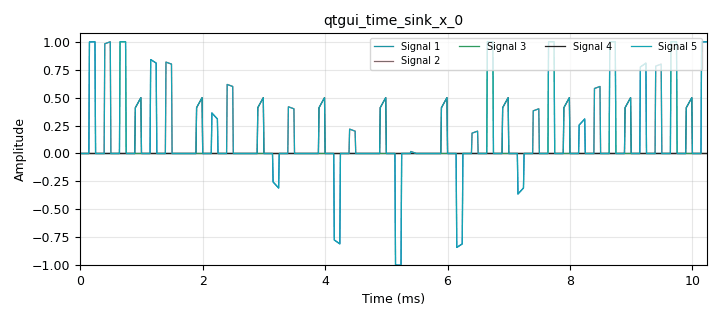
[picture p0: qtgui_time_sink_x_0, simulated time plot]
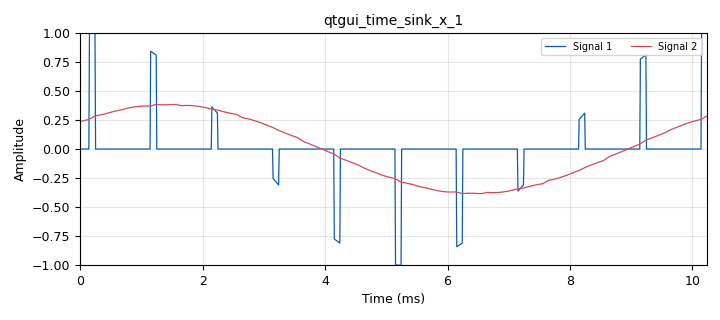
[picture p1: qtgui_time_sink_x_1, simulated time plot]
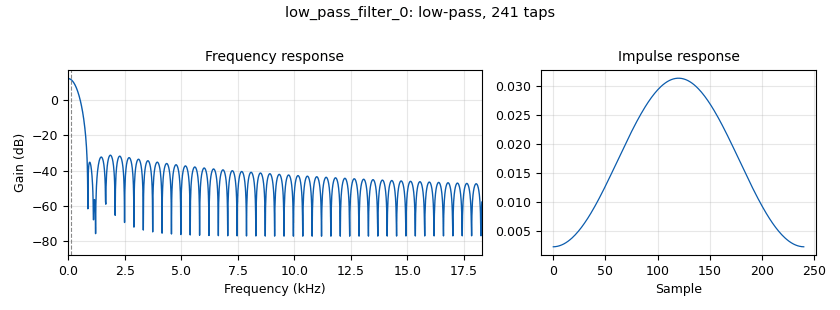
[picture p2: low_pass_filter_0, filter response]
options:
  parameters:
    author: Juan Fabian Morales Moreno
    generate_options: qt_gui
    id: MultiplexaPAM
    output_language: python
    title: MultiplexaPAM
  states: {}

blocks:
- name: Am
  id: variable_qtgui_range
  parameters:
    label: Amplitud de Mensaje
    start: '0'
    step: '100e-3'
    stop: '10'
    value: '1'
  states: {}
- name: D
  id: variable_qtgui_range
  parameters:
    label: Ancho de Pulso
    rangeType: int
    start: '0'
    step: '1'
    stop: '50'
    value: '10'
  states: {}
- name: D1
  id: variable_qtgui_range
  parameters:
    label: Retardo 1
    rangeType: int
    start: '0'
    step: '1'
    stop: '100'
    value: '25'
  states: {}
- name: D2
  id: variable_qtgui_range
  parameters:
    label: Retardo 2
    rangeType: int
    start: '0'
    step: '1'
    stop: '100'
    value: '50'
  states: {}
- name: D3
  id: variable_qtgui_range
  parameters:
    label: Retardo 3
    rangeType: int
    start: '0'
    step: '1'
    stop: '100'
    value: '75'
  states: {}
- name: D4
  id: variable_qtgui_range
  parameters:
    label: Selección señal RX
    rangeType: int
    start: '0'
    step: '1'
    stop: '100'
    value: '0'
  states: {}
- name: fm
  id: variable_qtgui_range
  parameters:
    label: Frecuencia Mensaje
    start: '0'
    step: '10'
    stop: '10000'
    value: '100'
  states: {}
- name: fs
  id: variable_qtgui_range
  parameters:
    label: Frecuencia de pulsos
    start: '0'
    step: '1'
    stop: '10000'
    value: '1000'
  states: {}
- name: samp_rate
  id: variable
  parameters:
    value: 100e3
  states: {}
- name: analog_const_source_x_0
  id: analog_const_source_x
  parameters:
    const: '0'
    type: float
  states: {state: disabled}
- name: analog_sig_source_x_0
  id: analog_sig_source_x
  parameters:
    amp: Am
    freq: fm
    offset: '0'
    phase: '0'
    samp_rate: samp_rate
    type: float
    waveform: analog.GR_COS_WAVE
  states: {}
- name: analog_sig_source_x_0_0
  id: analog_sig_source_x
  parameters:
    amp: '1'
    freq: fs
    offset: '0'
    phase: '0'
    samp_rate: samp_rate
    type: float
    waveform: analog.GR_SQR_WAVE
  states: {}
- name: analog_sig_source_x_0_0_0
  id: analog_sig_source_x
  parameters:
    amp: '1'
    freq: fs
    offset: '0'
    phase: '0'
    samp_rate: samp_rate
    type: float
    waveform: analog.GR_SQR_WAVE
  states: {}
- name: analog_sig_source_x_0_0_1
  id: analog_sig_source_x
  parameters:
    amp: '1'
    freq: fs
    offset: '0'
    phase: '0'
    samp_rate: samp_rate
    type: float
    waveform: analog.GR_SQR_WAVE
  states: {}
- name: analog_sig_source_x_0_0_1_0
  id: analog_sig_source_x
  parameters:
    amp: '1'
    freq: fs
    offset: '0'
    phase: '0'
    samp_rate: samp_rate
    type: float
    waveform: analog.GR_SQR_WAVE
  states: {}
- name: analog_sig_source_x_0_1
  id: analog_sig_source_x
  parameters:
    amp: Am
    freq: fm
    offset: '0'
    phase: '0'
    samp_rate: samp_rate
    type: float
    waveform: analog.GR_TRI_WAVE
  states: {}
- name: analog_sig_source_x_0_2
  id: analog_sig_source_x
  parameters:
    amp: Am
    freq: fm
    offset: '0'
    phase: '0'
    samp_rate: samp_rate
    type: float
    waveform: analog.GR_SQR_WAVE
  states: {}
- name: analog_sig_source_x_0_2_0
  id: analog_sig_source_x
  parameters:
    amp: '1'
    freq: '1000'
    offset: '0'
    phase: '0'
    samp_rate: samp_rate
    type: float
    waveform: analog.GR_SAW_WAVE
  states: {}
- name: analog_sig_source_x_0_3
  id: analog_sig_source_x
  parameters:
    amp: '1'
    freq: fs
    offset: '0'
    phase: '0'
    samp_rate: samp_rate
    type: float
    waveform: analog.GR_SQR_WAVE
  states: {}
- name: blocks_add_xx_0
  id: blocks_add_xx
  parameters:
    num_inputs: '4'
    type: float
  states: {}
- name: blocks_delay_0
  id: blocks_delay
  parameters:
    delay: 50-D
    type: float
  states: {}
- name: blocks_delay_0_0
  id: blocks_delay
  parameters:
    delay: 50-D
    type: float
  states: {}
- name: blocks_delay_0_1
  id: blocks_delay
  parameters:
    delay: 50-D
    type: float
  states: {}
- name: blocks_delay_0_1_0
  id: blocks_delay
  parameters:
    delay: 50-D
    type: float
  states: {}
- name: blocks_delay_0_2
  id: blocks_delay
  parameters:
    delay: 50-D
    type: float
  states: {}
- name: blocks_delay_1
  id: blocks_delay
  parameters:
    delay: D1
    type: float
  states: {}
- name: blocks_delay_2
  id: blocks_delay
  parameters:
    delay: D2
    type: float
  states: {}
- name: blocks_delay_2_0
  id: blocks_delay
  parameters:
    delay: D3
    type: float
  states: {}
- name: blocks_delay_3
  id: blocks_delay
  parameters:
    delay: D4
    type: float
  states: {}
- name: blocks_float_to_complex_0
  id: blocks_float_to_complex
  parameters: {}
  states: {state: disabled}
- name: blocks_multiply_xx_0
  id: blocks_multiply_xx
  parameters:
    type: float
  states: {}
- name: blocks_multiply_xx_0_0
  id: blocks_multiply_xx
  parameters:
    type: float
  states: {}
- name: blocks_multiply_xx_0_0_0
  id: blocks_multiply_xx
  parameters:
    type: float
  states: {}
- name: blocks_multiply_xx_0_0_1
  id: blocks_multiply_xx
  parameters:
    type: float
  states: {}
- name: blocks_multiply_xx_0_0_1_0
  id: blocks_multiply_xx
  parameters:
    type: float
  states: {}
- name: blocks_multiply_xx_0_0_2
  id: blocks_multiply_xx
  parameters:
    type: float
  states: {}
- name: blocks_multiply_xx_0_1
  id: blocks_multiply_xx
  parameters:
    type: float
  states: {}
- name: blocks_multiply_xx_0_2
  id: blocks_multiply_xx
  parameters:
    type: float
  states: {}
- name: blocks_multiply_xx_0_2_0
  id: blocks_multiply_xx
  parameters:
    type: float
  states: {}
- name: blocks_multiply_xx_0_3
  id: blocks_multiply_xx
  parameters:
    type: float
  states: {}
- name: blocks_throttle_0
  id: blocks_throttle
  parameters:
    samples_per_second: samp_rate
    type: float
  states: {}
- name: blocks_throttle_0_0
  id: blocks_throttle
  parameters:
    samples_per_second: samp_rate
    type: float
  states: {}
- name: blocks_throttle_0_1
  id: blocks_throttle
  parameters:
    samples_per_second: samp_rate
    type: float
  states: {}
- name: blocks_throttle_0_1_0
  id: blocks_throttle
  parameters:
    samples_per_second: samp_rate
    type: float
  states: {}
- name: blocks_throttle_0_2
  id: blocks_throttle
  parameters:
    samples_per_second: samp_rate
    type: float
  states: {}
- name: low_pass_filter_0
  id: low_pass_filter
  parameters:
    cutoff_freq: '100'
    decim: '1'
    gain: '4'
    samp_rate: samp_rate
    type: fir_filter_fff
    width: '1000'
    win: window.WIN_HAMMING
  states: {}
- name: qtgui_time_sink_x_0
  id: qtgui_time_sink_x
  parameters:
    nconnections: '5'
    size: '1024'
    srate: samp_rate
    type: float
  states: {}
- name: qtgui_time_sink_x_1
  id: qtgui_time_sink_x
  parameters:
    nconnections: '2'
    size: '1024'
    srate: samp_rate
    type: float
  states: {}
- name: uhd_usrp_sink_0
  id: uhd_usrp_sink
  parameters:
    ant0: '"TX/RX"'
    center_freq0: 400e6
    gain0: '1'
    samp_rate: samp_rate
    sync: pc_clock
    type: fc32
  states: {state: disabled}

connections:
- [analog_const_source_x_0, '0', blocks_float_to_complex_0, '1']
- [analog_sig_source_x_0, '0', blocks_throttle_0, '0']
- [analog_sig_source_x_0_0, '0', blocks_delay_0, '0']
- [analog_sig_source_x_0_0, '0', blocks_multiply_xx_0, '0']
- [analog_sig_source_x_0_0_0, '0', blocks_delay_0_0, '0']
- [analog_sig_source_x_0_0_0, '0', blocks_multiply_xx_0_1, '0']
- [analog_sig_source_x_0_0_1, '0', blocks_delay_0_1, '0']
- [analog_sig_source_x_0_0_1, '0', blocks_multiply_xx_0_2, '0']
- [analog_sig_source_x_0_0_1_0, '0', blocks_delay_0_1_0, '0']
- [analog_sig_source_x_0_0_1_0, '0', blocks_multiply_xx_0_2_0, '0']
- [analog_sig_source_x_0_1, '0', blocks_throttle_0_0, '0']
- [analog_sig_source_x_0_2, '0', blocks_throttle_0_1, '0']
- [analog_sig_source_x_0_2_0, '0', blocks_throttle_0_1_0, '0']
- [analog_sig_source_x_0_3, '0', blocks_delay_0_2, '0']
- [analog_sig_source_x_0_3, '0', blocks_multiply_xx_0_3, '0']
- [blocks_add_xx_0, '0', blocks_delay_3, '0']
- [blocks_add_xx_0, '0', qtgui_time_sink_x_0, '4']
- [blocks_delay_0, '0', blocks_multiply_xx_0, '1']
- [blocks_delay_0_0, '0', blocks_multiply_xx_0_1, '1']
- [blocks_delay_0_1, '0', blocks_multiply_xx_0_2, '1']
- [blocks_delay_0_1_0, '0', blocks_multiply_xx_0_2_0, '1']
- [blocks_delay_0_2, '0', blocks_multiply_xx_0_3, '1']
- [blocks_delay_1, '0', blocks_add_xx_0, '1']
- [blocks_delay_1, '0', qtgui_time_sink_x_0, '1']
- [blocks_delay_2, '0', blocks_add_xx_0, '2']
- [blocks_delay_2, '0', qtgui_time_sink_x_0, '2']
- [blocks_delay_2_0, '0', blocks_add_xx_0, '3']
- [blocks_delay_2_0, '0', qtgui_time_sink_x_0, '3']
- [blocks_delay_3, '0', blocks_throttle_0_2, '0']
- [blocks_float_to_complex_0, '0', uhd_usrp_sink_0, '0']
- [blocks_multiply_xx_0, '0', blocks_multiply_xx_0_0, '1']
- [blocks_multiply_xx_0_0, '0', blocks_add_xx_0, '0']
- [blocks_multiply_xx_0_0, '0', qtgui_time_sink_x_0, '0']
- [blocks_multiply_xx_0_0_0, '0', blocks_delay_1, '0']
- [blocks_multiply_xx_0_0_1, '0', blocks_delay_2, '0']
- [blocks_multiply_xx_0_0_1_0, '0', blocks_delay_2_0, '0']
- [blocks_multiply_xx_0_0_2, '0', low_pass_filter_0, '0']
- [blocks_multiply_xx_0_0_2, '0', qtgui_time_sink_x_1, '0']
- [blocks_multiply_xx_0_1, '0', blocks_multiply_xx_0_0_0, '1']
- [blocks_multiply_xx_0_2, '0', blocks_multiply_xx_0_0_1, '1']
- [blocks_multiply_xx_0_2_0, '0', blocks_multiply_xx_0_0_1_0, '1']
- [blocks_multiply_xx_0_3, '0', blocks_multiply_xx_0_0_2, '1']
- [blocks_throttle_0, '0', blocks_multiply_xx_0_0, '0']
- [blocks_throttle_0_0, '0', blocks_multiply_xx_0_0_0, '0']
- [blocks_throttle_0_1, '0', blocks_multiply_xx_0_0_1, '0']
- [blocks_throttle_0_1_0, '0', blocks_multiply_xx_0_0_1_0, '0']
- [blocks_throttle_0_2, '0', blocks_multiply_xx_0_0_2, '0']
- [low_pass_filter_0, '0', blocks_float_to_complex_0, '0']
- [low_pass_filter_0, '0', qtgui_time_sink_x_1, '1']

metadata:
  file_format: 1
